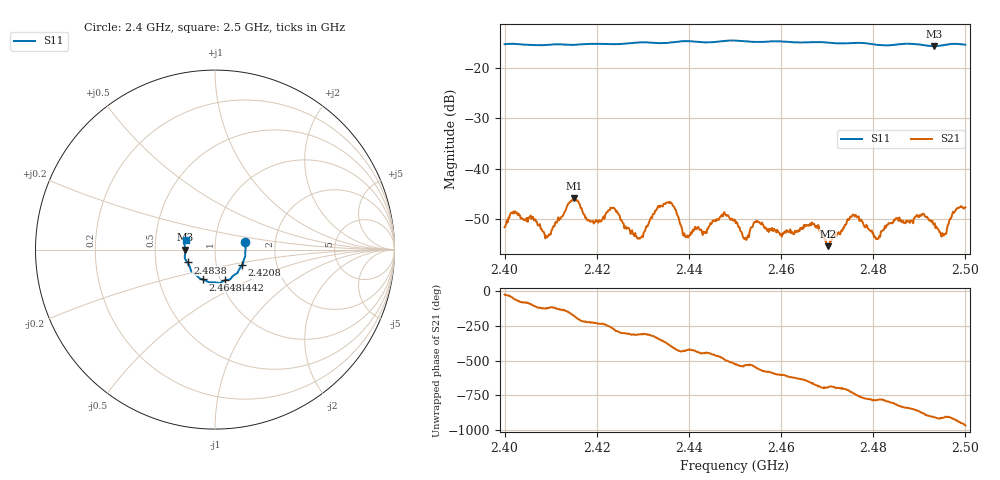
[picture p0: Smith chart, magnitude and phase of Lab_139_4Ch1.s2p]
# Hz S RI R 50
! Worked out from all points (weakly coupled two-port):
!   601 points, 2.4 GHz to 2.5 GHz, reference 50 ohm
!   highest |S21| = -45.87 dB at 2.4152 GHz (marker M1); lowest = -55.5 dB at 2.4702 GHz (marker M2)
!   lowest |S11| = -15.6 dB at 2.4932 GHz (marker M3), VSWR 1.40, Z = 35.8 - j0.0809 ohm
!   |S11| at or under -10 dB: start of sweep to end of sweep
!   S12 and S22 are empty: the file has one direction only
!   S11 on the Smith chart (normalised r, x): 2.4 GHz: 1.40, +0.12; 2.4208 GHz: 1.33, -0.24; 2.4442 GHz: 1.05, -0.37; 2.4648 GHz: 0.83, -0.28; 2.4838 GHz: 0.73, -0.11; 2.5 GHz: 0.72, +0.08
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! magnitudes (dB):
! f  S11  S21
! 2.4 GHz  -15.2  -51.7
! 2.4093 GHz  -15.4  -53.6
! 2.4152 GHz  -15.4  -45.9
! 2.4167 GHz  -15.3  -47.8
! 2.4208 GHz  -15.2  -50.6
! 2.4235 GHz  -15.2  -47.9
! 2.4293 GHz  -14.9  -54.0
! 2.4333 GHz  -15.0  -47.5
! 2.4363 GHz  -14.9  -47.0
! 2.4393 GHz  -14.6  -53.7
! 2.4442 GHz  -14.9  -51.9
! 2.45 GHz  -14.5  -50.3
! 2.4522 GHz  -14.7  -53.8
! 2.4648 GHz  -14.9  -52.0
! 2.4667 GHz  -14.8  -50.7
! 2.4702 GHz  -14.9  -55.5
! 2.4755 GHz  -15.0  -49.3
! 2.4807 GHz  -15.3  -54.1
! 2.4833 GHz  -15.5  -50.9
! 2.4838 GHz  -15.4  -50.9
! 2.4932 GHz  -15.6  -51.2
! 2.5 GHz  -15.3  -47.7
